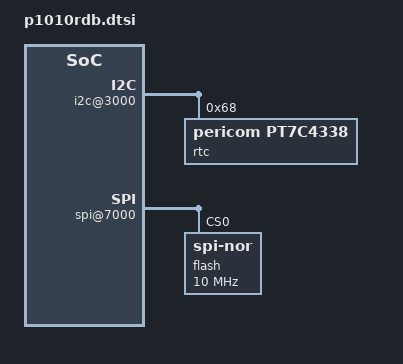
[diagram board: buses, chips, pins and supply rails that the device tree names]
// SPDX-License-Identifier: GPL-2.0+ OR X11
/*
 * P1010RDB Device Tree Source
 *
 * Copyright 2020 NXP
 */
/ {
	aliases {
		spi0 = &espi0;
	};
};

&soc {
	i2c@3000 {
		rtc@68 {
			compatible = "pericom,pt7c4338";
			reg = <0x68>;
		};
	};

	spi@7000 {
		status = "okay";
		flash@0 {
			compatible = "jedec,spi-nor";
			#address-cells = <1>;
			#size-cells = <1>;
			reg = <0>;
			spi-max-frequency = <10000000>; /* input clock */
		};
	};
};
